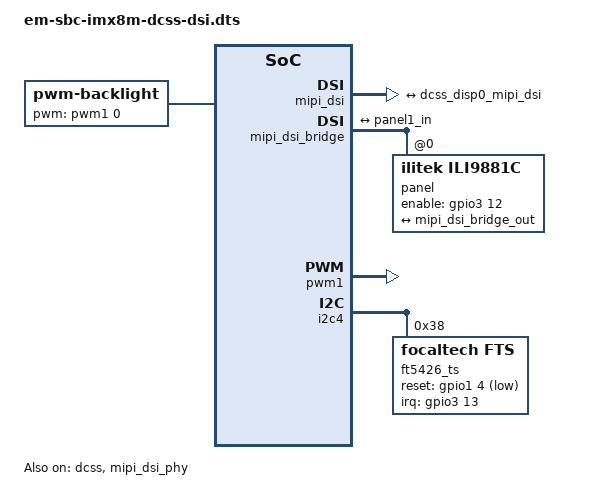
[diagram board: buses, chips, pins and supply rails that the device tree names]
/*
 * Copyright 2018 NXP
 *
 * This program is free software; you can redistribute it and/or
 * modify it under the terms of the GNU General Public License
 * as published by the Free Software Foundation; either version 2
 * of the License, or (at your option) any later version.
 *
 * This program is distributed in the hope that it will be useful,
 * but WITHOUT ANY WARRANTY; without even the implied warranty of
 * MERCHANTABILITY or FITNESS FOR A PARTICULAR PURPOSE.  See the
 * GNU General Public License for more details.
 */

#include "em-sbc-imx8m.dts"

/ {
	sound-hdmi {
		status = "disabled";
	};
};

&hdmi {
	status = "disabled";
};

&dcss {
	status = "okay";
	disp-dev = "mipi_disp";

	clocks = <&clk IMX8MQ_CLK_DISP_APB_ROOT>,
		 <&clk IMX8MQ_CLK_DISP_AXI_ROOT>,
		 <&clk IMX8MQ_CLK_DISP_RTRM_ROOT>,
		 <&clk IMX8MQ_CLK_DC_PIXEL>,
		 <&clk IMX8MQ_CLK_DUMMY>,
		 <&clk IMX8MQ_CLK_DISP_DTRC>;
	clock-names = "apb", "axi", "rtrm", "pix_div", "pix_out", "dtrc";

	assigned-clocks = <&clk IMX8MQ_CLK_DC_PIXEL>,
			  <&clk IMX8MQ_CLK_DISP_AXI>,
			  <&clk IMX8MQ_CLK_DISP_RTRM>,
			  <&clk IMX8MQ_VIDEO_PLL1_REF_SEL>,
			  <&clk IMX8MQ_VIDEO_PLL1>;
	assigned-clock-parents = <&clk IMX8MQ_VIDEO_PLL1_OUT>,
				 <&clk IMX8MQ_SYS1_PLL_800M>,
				 <&clk IMX8MQ_SYS1_PLL_800M>,
				 <&clk IMX8MQ_CLK_25M>;
	assigned-clock-rates = <600000000>,
			       <800000000>,
			       <0>,
			       <400000000>,
			       <599999999>;

	dcss_disp0: port@0 {
		reg = <0>;

		dcss_disp0_mipi_dsi: mipi_dsi {
			remote-endpoint = <&mipi_dsi_in>;
		};
	};
};

&mipi_dsi_phy {
	status = "okay";
};

&mipi_dsi {
	status = "okay";
	assigned-clocks = <&clk IMX8MQ_CLK_DSI_PHY_REF>,
			  <&clk IMX8MQ_CLK_DSI_CORE>,
			  <&clk IMX8MQ_VIDEO_PLL1_REF_SEL>,
			  <&clk IMX8MQ_VIDEO_PLL1>;
	assigned-clock-parents = <&clk IMX8MQ_VIDEO_PLL1_OUT>,
				 <&clk IMX8MQ_SYS1_PLL_266M>,
				 <&clk IMX8MQ_CLK_25M>;
	assigned-clock-rates = <24000000>,
			       <266000000>,
			       <0>,
			       <599999999>;

	port@1 {
		mipi_dsi_in: endpoint {
			remote-endpoint = <&dcss_disp0_mipi_dsi>;
		};
	};

};

&mipi_dsi_bridge {
	status = "okay";

	panel@0 {
		compatible = "ilitek,ili9881c";
		reg = <0>;
		pinctrl-0 = <&pinctrl_mipi_dsi_en>;
		enable-gpio = <&gpio3 12 GPIO_ACTIVE_HIGH>;
		dsi-lanes = <2>;

		port {
			panel1_in: endpoint {
				remote-endpoint = <&mipi_dsi_bridge_out>;
			};
		};
	};

	port@2 {
		mipi_dsi_bridge_out: endpoint {
			remote-endpoint = <&panel1_in>;
		};
	};
};

&iomuxc {
	imx8mq-evk {
		pinctrl_mipi_dsi_en: mipi_dsi_en {
			fsl,pins = <
				MX8MQ_IOMUXC_NAND_DATA06_GPIO3_IO12	0x16 /*DSI_EN*/
			>;
		};

		pinctrl_pwm1: pwm1_grp {
			fsl,pins = <
					MX8MQ_IOMUXC_GPIO1_IO01_PWM1_OUT  0x06
			>;
		};

		pinctrl_ts_ft5426: ft5426_pinsgrp {
			fsl,pins = <
				MX8MQ_IOMUXC_NAND_DATA07_GPIO3_IO13  0x19 /* DSI_TS_nINT */
				MX8MQ_IOMUXC_GPIO1_IO04_GPIO1_IO4   0x19 /* DSI_TS_RST */
			>;
		};
	};
};

/ {
	backlight {
			compatible = "pwm-backlight";
			pwms = <&pwm1 0 500000 0>;
			brightness-levels = <0 1 8 32 64 96 128 160 192 224 255>;
			default-brightness-level = <7>;
			status = "okay";
	};
};

&pwm1 {
        pinctrl-names = "default";
        pinctrl-0 = <&pinctrl_pwm1>;
        status = "okay";
};


&i2c4 {
	ft5426_ts@38 {
			compatible = "focaltech,fts";
			reg = <0x38>;
			pinctrl-0 = <&pinctrl_ts_ft5426>;

			interrupt-parent = <&gpio3>;
			interrupts = <13 2>;
			focaltech,reset-gpio = <&gpio1 4 0x01>;
			focaltech,irq-gpio = <&gpio3 13 0x02>;
			focaltech,max-touch-number = <10>;
			focaltech,panel-type = <0x54260002>;/* _FT5426 */
			focaltech,display-coords =  <0 0 720 1280>;
			focaltech,have-key;
			focaltech,key-number = <3>;
			focaltech,keys = <139 102 158>;
			focaltech,key-y-coord = <2000>;
			focaltech,key-x-coords = <200 600 800>;
	};
};
